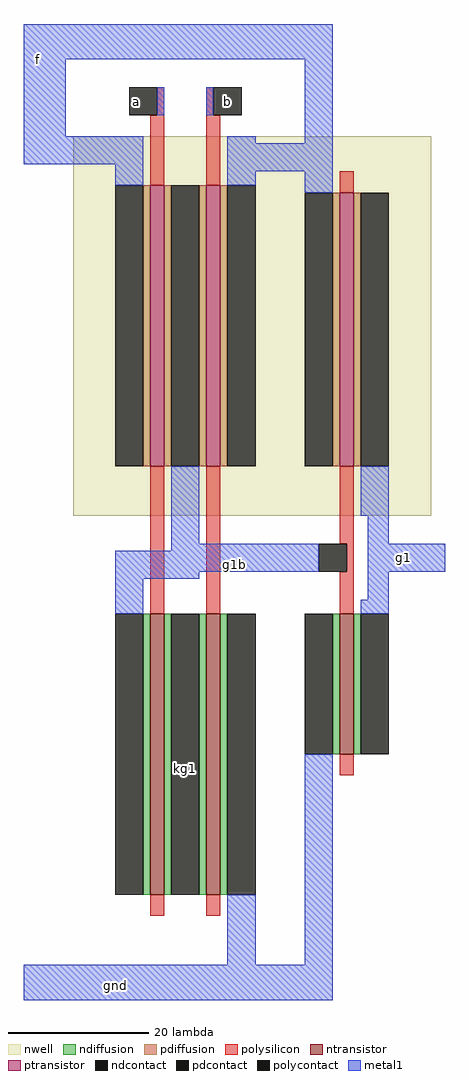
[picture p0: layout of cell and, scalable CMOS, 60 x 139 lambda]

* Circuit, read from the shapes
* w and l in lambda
.subckt and a b f g1 g1b gnd kg1
M1 kg1 a g1b VSUBS nfet w=40 l=2
M2 gnd b kg1 VSUBS nfet w=40 l=2
M3 g1 g1b gnd VSUBS nfet w=20 l=2
M4 g1b a f n1 pfet w=40 l=2
M5 f b g1b n1 pfet w=40 l=2
M6 g1 g1b f n1 pfet w=39 l=2
.ends

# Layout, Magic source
magic
tech scmos
<< nwell >>
rect -19 -3 32 51
<< ntransistor >>
rect -8 -57 -6 -17
rect 0 -57 2 -17
rect 19 -37 21 -17
<< ptransistor >>
rect -8 4 -6 44
rect 0 4 2 44
rect 19 4 21 43
<< ndiffusion >>
rect -9 -57 -8 -17
rect -6 -57 -5 -17
rect -1 -57 0 -17
rect 2 -57 3 -17
rect 18 -37 19 -17
rect 21 -37 22 -17
<< pdiffusion >>
rect -9 4 -8 44
rect -6 4 -5 44
rect -1 4 0 44
rect 2 4 3 44
rect 18 4 19 43
rect 21 4 22 43
<< ndcontact >>
rect -13 -57 -9 -17
rect -5 -57 -1 -17
rect 3 -57 7 -17
rect 14 -37 18 -17
rect 22 -37 26 -17
<< pdcontact >>
rect -13 4 -9 44
rect -5 4 -1 44
rect 3 4 7 44
rect 14 4 18 43
rect 22 4 26 43
<< polysilicon >>
rect -7 54 -6 58
rect -8 44 -6 54
rect 0 54 1 58
rect 0 44 2 54
rect 19 43 21 46
rect -8 -17 -6 4
rect 0 -17 2 4
rect 19 -7 21 4
rect 20 -11 21 -7
rect 19 -17 21 -11
rect 19 -40 21 -37
rect -8 -60 -6 -57
rect 0 -60 2 -57
<< polycontact >>
rect -11 54 -7 58
rect 1 54 5 58
rect 16 -11 20 -7
<< metal1 >>
rect -26 62 18 67
rect -26 51 -20 62
rect -7 54 -6 58
rect 0 54 1 58
rect -26 47 -9 51
rect -13 44 -9 47
rect 3 50 7 51
rect 14 50 18 62
rect 3 46 18 50
rect 3 44 7 46
rect 14 43 18 46
rect -5 -7 -1 4
rect 22 -3 26 4
rect 23 -7 26 -3
rect -5 -8 16 -7
rect -13 -11 16 -8
rect 23 -11 34 -7
rect -13 -12 -1 -11
rect -13 -17 -9 -12
rect 23 -15 26 -11
rect 22 -17 26 -15
rect 3 -67 7 -57
rect 14 -67 18 -37
rect -26 -72 18 -67
<< labels >>
rlabel metal1 4 -10 4 -10 1 g1b
rlabel metal1 28 -9 28 -9 1 g1
rlabel metal1 -13 -70 -13 -70 1 gnd
rlabel polycontact -10 56 -10 56 5 a
rlabel polycontact 3 56 3 56 5 b
rlabel metal1 -24 62 -24 62 4 f
rlabel ndcontact -3 -39 -3 -39 1 kg1
<< end >>
